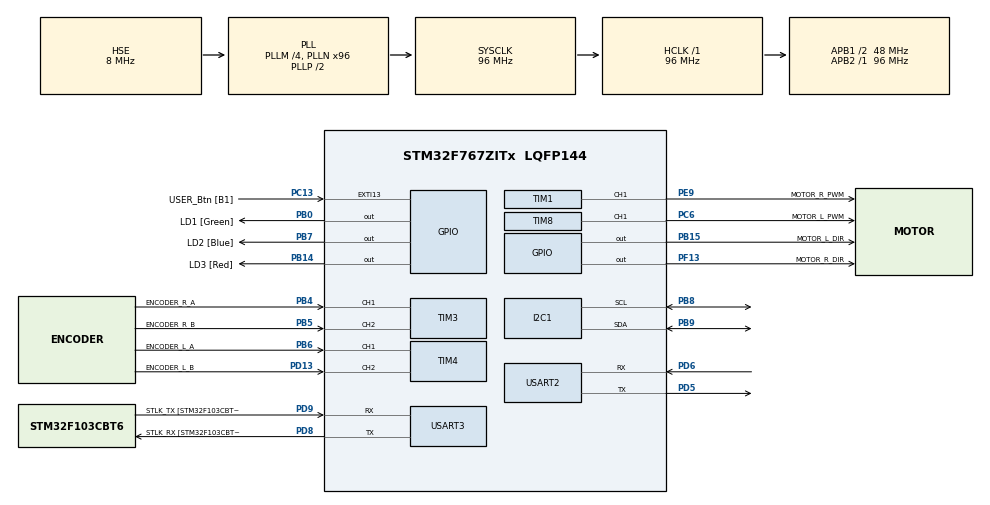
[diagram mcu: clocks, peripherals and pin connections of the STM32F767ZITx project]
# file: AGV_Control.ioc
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CORTEX_M7.default_mode_Activation=1
Dma.Request0=USART2_RX
Dma.USART2_RX.0.Direction=DMA_PERIPH_TO_MEMORY
Dma.USART2_RX.0.FIFOMode=DMA_FIFOMODE_DISABLE
Dma.USART2_RX.0.Instance=DMA1_Stream5
Dma.USART2_RX.0.MemDataAlignment=DMA_MDATAALIGN_BYTE
Dma.USART2_RX.0.MemInc=DMA_MINC_ENABLE
Dma.USART2_RX.0.Mode=DMA_CIRCULAR
Dma.USART2_RX.0.PeriphDataAlignment=DMA_PDATAALIGN_BYTE
Dma.USART2_RX.0.PeriphInc=DMA_PINC_DISABLE
Dma.USART2_RX.0.Priority=DMA_PRIORITY_LOW
I2C1.Timing=0x20303E5D
Mcu.Family=STM32F7
Mcu.Name=STM32F767ZITx
Mcu.Package=LQFP144
NVIC.DMA1_Stream5_IRQn=true\:0\:0\:false\:false\:true\:false\:true\:true
NVIC.PriorityGroup=NVIC_PRIORITYGROUP_4
NVIC.TIM6_DAC_IRQn=true\:0\:0\:false\:false\:true\:true\:true\:true
NVIC.USART2_IRQn=true\:0\:0\:false\:false\:true\:true\:true\:true
NVIC.USART3_IRQn=true\:0\:0\:false\:false\:true\:true\:true\:true
PA13.GPIO_Label=TMS
PA13.Mode=Serial_Wire
PA13.Signal=SYS_JTMS-SWDIO
PA14.GPIO_Label=TCK
PA14.Mode=Serial_Wire
PA14.Signal=SYS_JTCK-SWCLK
PB0.GPIO_Label=LD1 [Green]
PB0.Signal=GPIO_Output
PB14.GPIO_Label=LD3 [Red]
PB14.Signal=GPIO_Output
PB15.GPIO_Label=MOTOR_L_DIR
PB15.Signal=GPIO_Output
PB4.GPIO_Label=ENCODER_R_A
PB4.Signal=S_TIM3_CH1
PB5.GPIO_Label=ENCODER_R_B
PB5.Signal=S_TIM3_CH2
PB6.GPIO_Label=ENCODER_L_A
PB6.Signal=S_TIM4_CH1
PB7.GPIO_Label=LD2 [Blue]
PB7.Signal=GPIO_Output
PB8.Mode=I2C
PB8.Signal=I2C1_SCL
PB9.Mode=I2C
PB9.Signal=I2C1_SDA
PC13.GPIO_Label=USER_Btn [B1]
PC13.Signal=GPXTI13
PC14/OSC32_IN.Mode=LSE-External-Oscillator
PC14/OSC32_IN.Signal=RCC_OSC32_IN
PC15/OSC32_OUT.Mode=LSE-External-Oscillator
PC15/OSC32_OUT.Signal=RCC_OSC32_OUT
PC6.GPIO_Label=MOTOR_L_PWM
PC6.Signal=S_TIM8_CH1
PD13.GPIO_Label=ENCODER_L_B
PD13.Signal=S_TIM4_CH2
PD5.Mode=Asynchronous
PD5.Signal=USART2_TX
PD6.Mode=Asynchronous
PD6.Signal=USART2_RX
PD8.GPIO_Label=STLK_RX [STM32F103CBT6_PA3]
PD8.Mode=Asynchronous
PD8.Signal=USART3_TX
PD9.GPIO_Label=STLK_TX [STM32F103CBT6_PA2]
PD9.Mode=Asynchronous
PD9.Signal=USART3_RX
PE9.GPIO_Label=MOTOR_R_PWM
PE9.Signal=S_TIM1_CH1
PF13.GPIO_Label=MOTOR_R_DIR
PF13.Signal=GPIO_Output
PH0/OSC_IN.GPIO_Label=MCO [STM32F103CBT6_PA8]
PH0/OSC_IN.Mode=HSE-External-Clock-Source
PH0/OSC_IN.Signal=RCC_OSC_IN
PH1/OSC_OUT.Mode=HSE-External-Clock-Source
PH1/OSC_OUT.Signal=RCC_OSC_OUT
ProjectManager.HeapSize=0x200
ProjectManager.StackSize=0x400
ProjectManager.TargetToolchain=STM32CubeIDE
RCC.48MHZClocksFreq_Value=24000000
RCC.AHBFreq_Value=96000000
RCC.APB1CLKDivider=RCC_HCLK_DIV2
RCC.APB1Freq_Value=48000000
RCC.APB1TimFreq_Value=96000000
RCC.APB2Freq_Value=96000000
RCC.APB2TimFreq_Value=96000000
RCC.CortexFreq_Value=96000000
RCC.HCLKFreq_Value=96000000
RCC.HSE_VALUE=8000000
RCC.HSI_VALUE=16000000
RCC.PLLM=4
RCC.PLLMUL=RCC_PLL_MUL9
RCC.PLLN=96
RCC.PLLQ=4
RCC.PLLSourceVirtual=RCC_PLLSOURCE_HSE
RCC.PRESCALERUSB=RCC_USBCLKSOURCE_PLL_DIV1_5
RCC.SYSCLKFreq_VALUE=96000000
RCC.SYSCLKSource=RCC_SYSCLKSOURCE_PLLCLK
RCC.SYSCLKSourceVirtual=RCC_SYSCLKSOURCE_PLLCLK
RCC.USBFreq_Value=48000000
RCC.VCOOutputFreq_Value=192000000
SH.S_TIM1_CH1.0=TIM1_CH1,PWM Generation1 CH1
SH.S_TIM3_CH1.0=TIM3_CH1,Encoder_Interface
SH.S_TIM3_CH2.0=TIM3_CH2,Encoder_Interface
SH.S_TIM4_CH1.0=TIM4_CH1,Encoder_Interface
SH.S_TIM4_CH2.0=TIM4_CH2,Encoder_Interface
SH.S_TIM8_CH1.0=TIM8_CH1,PWM Generation1 CH1
TIM1.AutoReloadPreload=TIM_AUTORELOAD_PRELOAD_ENABLE
TIM1.Channel-PWM\ Generation1\ CH1=TIM_CHANNEL_1
TIM1.Period=4800-1
TIM1.Prescaler=1-1
TIM3.EncoderMode=TIM_ENCODERMODE_TI12
TIM3.IC1Filter=15
TIM3.IC2Filter=15
TIM4.EncoderMode=TIM_ENCODERMODE_TI12
TIM4.IC1Filter=15
TIM4.IC2Filter=15
TIM6.Period=100-1
TIM6.Prescaler=9600-1
TIM8.AutoReloadPreload=TIM_AUTORELOAD_PRELOAD_ENABLE
TIM8.Channel-PWM\ Generation1\ CH1=TIM_CHANNEL_1
TIM8.Period=4800-1
TIM8.Prescaler=1-1
USART2.VirtualMode-Asynchronous=VM_ASYNC
USART3.VirtualMode-Asynchronous=VM_ASYNC
VP_TIM6_VS_ClockSourceINT.Mode=Enable_Timer
board=NUCLEO-F767ZI

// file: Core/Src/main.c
/* USER CODE BEGIN Header */
/**
  ******************************************************************************
  * @file           : main.c
  * @brief          : Main program body
  ******************************************************************************
  * @attention
  *
  * Copyright (c) 2026 STMicroelectronics.
  * All rights reserved.
  *
  * This software is licensed under terms that can be found in the LICENSE file
  * in the root directory of this software component.
  * If no LICENSE file comes with this software, it is provided AS-IS.
  *
  ******************************************************************************
  */
/* USER CODE END Header */
#include "main.h"

/* USER CODE BEGIN Includes */
#include <stdio.h>
#include <string.h>
#include <math.h>
#include "pid.h"
#include "BNO055_STM32.h"
/* USER CODE END Includes */

/* USER CODE BEGIN PD */
#define CMD_FORWARD       0x01
#define CMD_STOP          0x02
#define CMD_LIFT_UP       0x03
#define CMD_LIFT_DOWN     0x04
#define CMD_ROTATE_LEFT   0x05
#define CMD_ROTATE_RIGHT  0x06
#define CMD_ROTATE_180    0x07
#define CMD_CORRECTION	  0x08
#define ABS(x) (((x) > 0) ? (x) : (-x))

// 캘리브레이션 값이 저장되어있는 플래시 메모리 주소 (Sector11)
#define CALIB_ADDR  ((uint32_t)0x081C0000)

#define MOTOR_CPR			64.0f
#define GEAR_RATIO			70.0f
#define ENCODER_CPR			(MOTOR_CPR * GEAR_RATIO)
#define WHEEL_DIAMETER_MM	66.0f
#define WHEEL_CIRCUMFERENCE	(M_PI * WHEEL_DIAMETER_MM)
#define TARGET_DISTANCE		500.0f

#define ArUcoMarker_RxBuf_SIZE		19
/* USER CODE END PD */

I2C_HandleTypeDef hi2c1;

TIM_HandleTypeDef htim1;
TIM_HandleTypeDef htim3;
TIM_HandleTypeDef htim4;
TIM_HandleTypeDef htim6;
TIM_HandleTypeDef htim8;

UART_HandleTypeDef huart2;
UART_HandleTypeDef huart3;
DMA_HandleTypeDef hdma_usart2_rx;

/* USER CODE BEGIN PV */
volatile uint8_t control_flag = 0, print_flag = 0, usart2_flag = 0;
uint8_t command = 0x00;
int16_t MotorL_Speed = 0, MotorR_Speed = 0;
float Target_Yaw = 0.0f;

// 속도, 거리 pid 제어용 변수들
uint16_t EncoderL_PrevCount, EncoderR_PrevCount;
uint16_t EncoderL_CurrCount, EncoderR_CurrCount;
int16_t EncoderL_DeltaCount, EncoderR_DeltaCount;

uint32_t EncoderL_TotalCount, EncoderR_TotalCount;
uint32_t Encoder_TotalCount;
float Total_Distance;

PID_t MOTOR_L, MOTOR_R;
PID_t DISTANCE;

// imu yaw 제어용 변수들
BNO055_Init_t bno055_init = {
		UNIT_ACC_MS2 | UNIT_GYRO_DPS | UNIT_EUL_DEG | UNIT_TEMP_CELCIUS,
		DEFAULT_AXIS_REMAP,
		DEFAULT_AXIS_SIGN,
		BNO055_NORMAL_MODE,
		NDOF,
		CLOCK_EXTERNAL,
		Range_2G
};

float BNO055_Yaw;
float Delta_Yaw;
float Yaw_Offset;
PID_t FORWARD_YAW, ROTATE_YAW;

// ArUco Marker 인식 및 보정용 변수들
uint8_t ArUcoMarker_RxBuf[ArUcoMarker_RxBuf_SIZE];
int marker_x, marker_y, marker_yaw;
/* USER CODE END PV */

void SystemClock_Config(void);
static void MPU_Config(void);
static void MX_GPIO_Init(void);
static void MX_DMA_Init(void);
static void MX_TIM1_Init(void);
static void MX_TIM3_Init(void);
static void MX_TIM4_Init(void);
static void MX_TIM6_Init(void);
static void MX_TIM8_Init(void);
static void MX_USART3_UART_Init(void);
static void MX_I2C1_Init(void);
static void MX_USART2_UART_Init(void);

/* USER CODE BEGIN 0 */
int _write(int file, char *ptr, int len)
{
    HAL_UART_Transmit(&huart3, (uint8_t*) ptr, len, HAL_MAX_DELAY);
    return len;
}

void Calib_Load(uint8_t *offset)
{
    for (int i = 0; i < 22; i++) {
        // 메모리 주소를 포인터로 변환하여 직접 값을 읽어옵니다.
        offset[i] = *(uint8_t *)(CALIB_ADDR + i);
    }
}

void Set_Zero_Yaw(void)
{
	BNO055_Sensors_t bno055_sensor_data;

	ReadData(&bno055_sensor_data, SENSOR_EULER);

	Yaw_Offset = bno055_sensor_data.Euler.X;
}

void AGV_START(void)
{
	uint8_t offset[22];

	printf("--- AGV Main Program Start ---\r\n");

	HAL_TIM_PWM_Start(&htim1, TIM_CHANNEL_1);			// MOTOR_R_PWM
	HAL_TIM_PWM_Start(&htim8, TIM_CHANNEL_1);			// MOTOR_L_PWM

	HAL_TIM_Encoder_Start(&htim3, TIM_CHANNEL_ALL);  	// MOTOR_R_ENCODER
	HAL_TIM_Encoder_Start(&htim4, TIM_CHANNEL_ALL);  	// MOTOR_L_ENCODER

	BNO055_Init(bno055_init);

	Calib_Load(offset);

	if (offset[0] != 0xFF)
	{
	    printf("Saved Calibration Data found! Applying to BNO055...\r\n");

	    setSensorOffsets(offset);

	    printf("Calibration Applied successfully.\r\n");
	}
	else
	{
	    printf("WARNING: No Calibration Data! Sensor may drift.\r\n");
	    printf("Please run the Calibration Tool firmware first.\r\n");
	}

	HAL_Delay(500);

	Set_Zero_Yaw();
}

void ENCODER_COUNT_UPDATE(void)
{
	EncoderL_CurrCount = __HAL_TIM_GET_COUNTER(&htim4);
	EncoderR_CurrCount = __HAL_TIM_GET_COUNTER(&htim3);

	EncoderL_DeltaCount = ABS((int16_t)(EncoderL_CurrCount - EncoderL_PrevCount));
	EncoderR_DeltaCount = ABS((int16_t)(EncoderR_CurrCount - EncoderR_PrevCount));

	EncoderL_PrevCount = EncoderL_CurrCount;
	EncoderR_PrevCount = EncoderR_CurrCount;
}

void SPEED_PID_Control(float target)
{
	PID_SetTarget(&MOTOR_L, target);
	PID_SetTarget(&MOTOR_R, target);

	PID_Compute(&MOTOR_L, EncoderL_DeltaCount);
	PID_Compute(&MOTOR_R, EncoderR_DeltaCount);
}

void DISTANCE_PID_Control(float target)
{
	EncoderL_TotalCount += EncoderL_DeltaCount;
	EncoderR_TotalCount += EncoderR_DeltaCount;

	Encoder_TotalCount = (EncoderL_TotalCount + EncoderR_TotalCount) / 2;

	Total_Distance = ((float)Encoder_TotalCount / ENCODER_CPR) * WHEEL_CIRCUMFERENCE;

	PID_SetTarget(&DISTANCE, target);

	PID_Compute(&DISTANCE, Total_Distance);
}

float ReadYawData(void)
{
	BNO055_Sensors_t bno055_sensor_data;
	float yaw;

	ReadData(&bno055_sensor_data, SENSOR_EULER);
	yaw = bno055_sensor_data.Euler.X - Yaw_Offset;

	if (yaw < 0.0f)
		yaw += 360.0f;
	else if (yaw >= 360.0f)
		yaw -= 360.0f;

	return yaw;
}

void FORWARD_YAW_PID_Control(void)
{
	BNO055_Yaw = ReadYawData();
	Delta_Yaw = Target_Yaw - BNO055_Yaw;

	// error wrap
	if (Delta_Yaw > 180.0f) Delta_Yaw -= 360.0f;
	if (Delta_Yaw < -180.0f) Delta_Yaw += 360.0f;

	PID_SetTarget(&FORWARD_YAW, 0.0f);

	PID_Compute(&FORWARD_YAW, Delta_Yaw);
}

void ROTATE_YAW_PID_Control(void)
{
	BNO055_Yaw = ReadYawData();
	Delta_Yaw = Target_Yaw - BNO055_Yaw;

	// error wrap
	if (Delta_Yaw > 180.0f) Delta_Yaw -= 360.0f;
	if (Delta_Yaw < -180.0f) Delta_Yaw += 360.0f;

	if (Delta_Yaw >= 0.0f)
	{
		HAL_GPIO_WritePin(MOTOR_L_DIR_GPIO_Port, MOTOR_L_DIR_Pin, GPIO_PIN_RESET);
		HAL_GPIO_WritePin(MOTOR_R_DIR_GPIO_Port, MOTOR_R_DIR_Pin, GPIO_PIN_SET);
	}
	else
	{
		HAL_GPIO_WritePin(MOTOR_L_DIR_GPIO_Port, MOTOR_L_DIR_Pin, GPIO_PIN_SET);
		HAL_GPIO_WritePin(MOTOR_R_DIR_GPIO_Port, MOTOR_R_DIR_Pin, GPIO_PIN_RESET);
	}

	PID_SetTarget(&ROTATE_YAW, 0.0f);

	PID_Compute(&ROTATE_YAW, ABS(Delta_Yaw));
}

int ArUcoMarker_Data_Parsing(const uint8_t* buf)
{
	int data = 0;

	if (buf[0] == '+' || buf[0] == '-')
	{
		data = (buf[1] - '0') * 1000 + (buf[2] - '0') * 100
				+ (buf[3] - '0') * 10 + (buf[4] - '0');

		if (buf[0] == '-') data *= -1;
	}

	return data;
}

void ReadArUcoMarkerData(void)
{
	if (usart2_flag)
	{
		usart2_flag = 0;

		marker_x = ArUcoMarker_Data_Parsing(&ArUcoMarker_RxBuf[1]);
		marker_y = ArUcoMarker_Data_Parsing(&ArUcoMarker_RxBuf[7]);
		marker_yaw = ArUcoMarker_Data_Parsing(&ArUcoMarker_RxBuf[13]);

		printf("x: %d, y: %d, yaw: %d\r\n", marker_x, marker_y, marker_yaw);
	}
}

void AGV_FORWARD(uint16_t basePwm, float target)
{
	float pwm, count;

	HAL_GPIO_WritePin(MOTOR_L_DIR_GPIO_Port, MOTOR_L_DIR_Pin, GPIO_PIN_RESET);
	HAL_GPIO_WritePin(MOTOR_R_DIR_GPIO_Port, MOTOR_R_DIR_Pin, GPIO_PIN_RESET);

	if (control_flag)
	{
		control_flag = 0;
		print_flag++;

		ENCODER_COUNT_UPDATE();

		//DISTANCE_PID_CONTROL
		DISTANCE_PID_Control(TARGET_DISTANCE);

		if (Total_Distance >= 0 && Total_Distance <= 150.0f)
		{
			pwm = basePwm + ((TARGET_DISTANCE - ABS(DISTANCE.pidOutput)) * 10.0f);
			count = pwm / 20.0f;
		}
		else if (Total_Distance >= 350.0f && Total_Distance <= 500.0f)
		{
			pwm = basePwm + (ABS(DISTANCE.pidOutput) * 10.0f);
			count = pwm / 20.0f;
		}
		else if (Total_Distance >= 500.0f)
		{
			printf("Distance: %4.1f\r\n", Total_Distance);
			Total_Distance = 0.0f;
			EncoderL_TotalCount = 0;
			EncoderR_TotalCount = 0;
			Encoder_TotalCount = 0;

			__HAL_TIM_SET_COMPARE(&htim8, TIM_CHANNEL_1, 0);
			__HAL_TIM_SET_COMPARE(&htim1, TIM_CHANNEL_1, 0);

			command = CMD_CORRECTION;

			return;
		}

		// SPEED PID CONTROL
		SPEED_PID_Control(count);

		// HEADING PID CONTROL
		FORWARD_YAW_PID_Control();

		MotorL_Speed = pwm + MOTOR_L.pidOutput + FORWARD_YAW.pidOutput;
		MotorR_Speed = pwm + MOTOR_R.pidOutput - FORWARD_YAW.pidOutput;

		if (MotorL_Speed > 4320) MotorL_Speed = 4320;
		if (MotorL_Speed < 0) MotorL_Speed = 0;
		if (MotorR_Speed > 4320) MotorR_Speed = 4320;
		if (MotorR_Speed < 0) MotorR_Speed = 0;

		__HAL_TIM_SET_COMPARE(&htim8, TIM_CHANNEL_1, MotorL_Speed);
		__HAL_TIM_SET_COMPARE(&htim1, TIM_CHANNEL_1, MotorR_Speed);

		if (print_flag >= 10)
		{
			print_flag = 0;
			printf("target: %4.1f, yaw: %4.1f, MotorL_Speed: %d, MotorR_Speed: %d\r\n", Target_Yaw, BNO055_Yaw, MotorL_Speed, MotorR_Speed);
			printf("Distance: %4.1f\r\n", Total_Distance);
		}
	}
}

void AGV_STOP(void)
{
	__HAL_TIM_SET_COMPARE(&htim8, TIM_CHANNEL_1, 0);
	__HAL_TIM_SET_COMPARE(&htim1, TIM_CHANNEL_1, 0);
}

void AGV_ROTATE(uint16_t basePwm, float target)
{
	float pwm, count;

	if (control_flag)
	{
		control_flag = 0;
		print_flag++;

		ENCODER_COUNT_UPDATE();

		// ROTATE PID CONTROL
		ROTATE_YAW_PID_Control();

		pwm = basePwm + (ABS(ROTATE_YAW.pidOutput) * 10);
		count = target + ((ABS(ROTATE_YAW.pidOutput) * 10) / 20.0f);

		// SPEED PID CONTROL
		SPEED_PID_Control(count);

		MotorL_Speed = pwm + MOTOR_L.pidOutput;
		MotorR_Speed = pwm + MOTOR_R.pidOutput;

		if (MotorL_Speed > 4320) MotorL_Speed = 4320;
		if (MotorL_Speed < 0) MotorL_Speed = 0;
		if (MotorR_Speed > 4320) MotorR_Speed = 4320;
		if (MotorR_Speed < 0) MotorR_Speed = 0;

		if (ABS(Delta_Yaw) < 1.0f)
		{
			MotorL_Speed = 0;
			MotorR_Speed = 0;

			//command = CMD_STOP;
		}

		__HAL_TIM_SET_COMPARE(&htim8, TIM_CHANNEL_1, MotorL_Speed);
		__HAL_TIM_SET_COMPARE(&htim1, TIM_CHANNEL_1, MotorR_Speed);

		if (print_flag >= 10)
		{
			print_flag = 0;
			printf("pidOutput: %4.1f, target: %4.1f\r\n", ROTATE_YAW.pidOutput, count);
			printf("target: %4.1f, yaw: %4.1f, MotorL_Speed: %d, MotorR_Speed: %d\r\n", Target_Yaw, BNO055_Yaw, MotorL_Speed, MotorR_Speed);
		}
	}
}

void AGV_CORRECTION(uint16_t basePwm, float target)
{
	ReadArUcoMarkerData();

	//HAL_Delay(1000-1);
}
/* USER CODE END 0 */

int main(void)
{

  /* MPU Configuration--------------------------------------------------------*/
  MPU_Config();

  /* MCU Configuration--------------------------------------------------------*/

  /* Reset of all peripherals, Initializes the Flash interface and the Systick. */
  HAL_Init();

  /* Configure the system clock */
  SystemClock_Config();

  /* Initialize all configured peripherals */
  MX_GPIO_Init();
  MX_DMA_Init();
  MX_TIM1_Init();
  MX_TIM3_Init();
  MX_TIM4_Init();
  MX_TIM6_Init();
  MX_TIM8_Init();
  MX_USART3_UART_Init();
  MX_I2C1_Init();
  MX_USART2_UART_Init();
  /* USER CODE BEGIN 2 */
  AGV_START();

  PID_Init(&MOTOR_L, 1.0, 0, 0.01, 0.01, 0, 4320, -4320);
  PID_Init(&MOTOR_R, 1.0, 0, 0.01, 0.01, 0, 4320, -4320);
  PID_Init(&FORWARD_YAW, 2.0, 0.0, 0.0, 0.01, 0, 4320, -4320);
  PID_Init(&ROTATE_YAW, 2.0, 0.0025, 0.25, 0.01, 0, 4320, -4320);
  PID_Init(&DISTANCE, 1.0, 0.0, 0.0, 0.01, 0, 4320, -4320);

  HAL_TIM_Base_Start_IT(&htim6);
  HAL_UART_Receive_IT(&huart3, &command, 1);
  HAL_UARTEx_ReceiveToIdle_DMA(&huart2, ArUcoMarker_RxBuf, ArUcoMarker_RxBuf_SIZE);
  __HAL_DMA_DISABLE_IT(&hdma_usart2_rx, DMA_IT_HT);
  /* USER CODE END 2 */

  /* Infinite loop */
  /* USER CODE BEGIN WHILE */
  while (1)
  {
	  switch(command)
	  {
	  case CMD_FORWARD:
		  AGV_FORWARD(400, 20.0f);
		  break;
	  case CMD_STOP:
		  AGV_STOP();
		  break;
	  case CMD_ROTATE_LEFT:
		  AGV_ROTATE(300, 15.0f);
		  break;
	  case CMD_ROTATE_RIGHT:
		  AGV_ROTATE(300, 15.0f);
		  break;
	  case CMD_ROTATE_180:
		  AGV_ROTATE(300, 15.0f);
		  break;
	  case CMD_CORRECTION:
		  AGV_CORRECTION(400, 20.0f);
	  }
    /* USER CODE END WHILE */

  }
}

void SystemClock_Config(void)
{
  RCC_OscInitTypeDef RCC_OscInitStruct = {0};
  RCC_ClkInitTypeDef RCC_ClkInitStruct = {0};

  /** Configure LSE Drive Capability
  */
  HAL_PWR_EnableBkUpAccess();

  /** Configure the main internal regulator output voltage
  */
  __HAL_RCC_PWR_CLK_ENABLE();
  __HAL_PWR_VOLTAGESCALING_CONFIG(PWR_REGULATOR_VOLTAGE_SCALE3);

  /** Initializes the RCC Oscillators according to the specified parameters
  * in the RCC_OscInitTypeDef structure.
  */
  RCC_OscInitStruct.OscillatorType = RCC_OSCILLATORTYPE_HSE;
  RCC_OscInitStruct.HSEState = RCC_HSE_BYPASS;
  RCC_OscInitStruct.PLL.PLLState = RCC_PLL_ON;
  RCC_OscInitStruct.PLL.PLLSource = RCC_PLLSOURCE_HSE;
  RCC_OscInitStruct.PLL.PLLM = 4;
  RCC_OscInitStruct.PLL.PLLN = 96;
  RCC_OscInitStruct.PLL.PLLP = RCC_PLLP_DIV2;
  RCC_OscInitStruct.PLL.PLLQ = 4;
  RCC_OscInitStruct.PLL.PLLR = 2;
  if (HAL_RCC_OscConfig(&RCC_OscInitStruct) != HAL_OK)
  {
    Error_Handler();
  }

  /** Activate the Over-Drive mode
  */
  if (HAL_PWREx_EnableOverDrive() != HAL_OK)
  {
    Error_Handler();
  }

  /** Initializes the CPU, AHB and APB buses clocks
  */
  RCC_ClkInitStruct.ClockType = RCC_CLOCKTYPE_HCLK|RCC_CLOCKTYPE_SYSCLK
                              |RCC_CLOCKTYPE_PCLK1|RCC_CLOCKTYPE_PCLK2;
  RCC_ClkInitStruct.SYSCLKSource = RCC_SYSCLKSOURCE_PLLCLK;
  RCC_ClkInitStruct.AHBCLKDivider = RCC_SYSCLK_DIV1;
  RCC_ClkInitStruct.APB1CLKDivider = RCC_HCLK_DIV2;
  RCC_ClkInitStruct.APB2CLKDivider = RCC_HCLK_DIV1;

  if (HAL_RCC_ClockConfig(&RCC_ClkInitStruct, FLASH_LATENCY_3) != HAL_OK)
  {
    Error_Handler();
  }
}

static void MX_I2C1_Init(void)
{

  hi2c1.Instance = I2C1;
  hi2c1.Init.Timing = 0x20303E5D;
  hi2c1.Init.OwnAddress1 = 0;
  hi2c1.Init.AddressingMode = I2C_ADDRESSINGMODE_7BIT;
  hi2c1.Init.DualAddressMode = I2C_DUALADDRESS_DISABLE;
  hi2c1.Init.OwnAddress2 = 0;
  hi2c1.Init.OwnAddress2Masks = I2C_OA2_NOMASK;
  hi2c1.Init.GeneralCallMode = I2C_GENERALCALL_DISABLE;
  hi2c1.Init.NoStretchMode = I2C_NOSTRETCH_DISABLE;
  if (HAL_I2C_Init(&hi2c1) != HAL_OK)
  {
    Error_Handler();
  }

  /** Configure Analogue filter
  */
  if (HAL_I2CEx_ConfigAnalogFilter(&hi2c1, I2C_ANALOGFILTER_ENABLE) != HAL_OK)
  {
    Error_Handler();
  }

  /** Configure Digital filter
  */
  if (HAL_I2CEx_ConfigDigitalFilter(&hi2c1, 0) != HAL_OK)
  {
    Error_Handler();
  }

}

static void MX_TIM1_Init(void)
{

  TIM_MasterConfigTypeDef sMasterConfig = {0};
  TIM_OC_InitTypeDef sConfigOC = {0};
  TIM_BreakDeadTimeConfigTypeDef sBreakDeadTimeConfig = {0};

  htim1.Instance = TIM1;
  htim1.Init.Prescaler = 1-1;
  htim1.Init.CounterMode = TIM_COUNTERMODE_UP;
  htim1.Init.Period = 4800-1;
  htim1.Init.ClockDivision = TIM_CLOCKDIVISION_DIV1;
  htim1.Init.RepetitionCounter = 0;
  htim1.Init.AutoReloadPreload = TIM_AUTORELOAD_PRELOAD_ENABLE;
  if (HAL_TIM_PWM_Init(&htim1) != HAL_OK)
  {
    Error_Handler();
  }
  sMasterConfig.MasterOutputTrigger = TIM_TRGO_RESET;
  sMasterConfig.MasterOutputTrigger2 = TIM_TRGO2_RESET;
  sMasterConfig.MasterSlaveMode = TIM_MASTERSLAVEMODE_DISABLE;
  if (HAL_TIMEx_MasterConfigSynchronization(&htim1, &sMasterConfig) != HAL_OK)
  {
    Error_Handler();
  }
  sConfigOC.OCMode = TIM_OCMODE_PWM1;
  sConfigOC.Pulse = 0;
  sConfigOC.OCPolarity = TIM_OCPOLARITY_HIGH;
  sConfigOC.OCNPolarity = TIM_OCNPOLARITY_HIGH;
  sConfigOC.OCFastMode = TIM_OCFAST_DISABLE;
  sConfigOC.OCIdleState = TIM_OCIDLESTATE_RESET;
  sConfigOC.OCNIdleState = TIM_OCNIDLESTATE_RESET;
  if (HAL_TIM_PWM_ConfigChannel(&htim1, &sConfigOC, TIM_CHANNEL_1) != HAL_OK)
  {
    Error_Handler();
  }
  sBreakDeadTimeConfig.OffStateRunMode = TIM_OSSR_DISABLE;
  sBreakDeadTimeConfig.OffStateIDLEMode = TIM_OSSI_DISABLE;
  sBreakDeadTimeConfig.LockLevel = TIM_LOCKLEVEL_OFF;
  sBreakDeadTimeConfig.DeadTime = 0;
  sBreakDeadTimeConfig.BreakState = TIM_BREAK_DISABLE;
  sBreakDeadTimeConfig.BreakPolarity = TIM_BREAKPOLARITY_HIGH;
  sBreakDeadTimeConfig.BreakFilter = 0;
  sBreakDeadTimeConfig.Break2State = TIM_BREAK2_DISABLE;
  sBreakDeadTimeConfig.Break2Polarity = TIM_BREAK2POLARITY_HIGH;
  sBreakDeadTimeConfig.Break2Filter = 0;
  sBreakDeadTimeConfig.AutomaticOutput = TIM_AUTOMATICOUTPUT_DISABLE;
  if (HAL_TIMEx_ConfigBreakDeadTime(&htim1, &sBreakDeadTimeConfig) != HAL_OK)
  {
    Error_Handler();
  }
  HAL_TIM_MspPostInit(&htim1);

}

static void MX_TIM3_Init(void)
{

  TIM_Encoder_InitTypeDef sConfig = {0};
  TIM_MasterConfigTypeDef sMasterConfig = {0};

  htim3.Instance = TIM3;
  htim3.Init.Prescaler = 0;
  htim3.Init.CounterMode = TIM_COUNTERMODE_UP;
  htim3.Init.Period = 65535;
  htim3.Init.ClockDivision = TIM_CLOCKDIVISION_DIV1;
  htim3.Init.AutoReloadPreload = TIM_AUTORELOAD_PRELOAD_DISABLE;
  sConfig.EncoderMode = TIM_ENCODERMODE_TI12;
  sConfig.IC1Polarity = TIM_ICPOLARITY_RISING;
  sConfig.IC1Selection = TIM_ICSELECTION_DIRECTTI;
  sConfig.IC1Prescaler = TIM_ICPSC_DIV1;
  sConfig.IC1Filter = 15;
  sConfig.IC2Polarity = TIM_ICPOLARITY_RISING;
  sConfig.IC2Selection = TIM_ICSELECTION_DIRECTTI;
  sConfig.IC2Prescaler = TIM_ICPSC_DIV1;
  sConfig.IC2Filter = 15;
  if (HAL_TIM_Encoder_Init(&htim3, &sConfig) != HAL_OK)
  {
    Error_Handler();
  }
  sMasterConfig.MasterOutputTrigger = TIM_TRGO_RESET;
  sMasterConfig.MasterSlaveMode = TIM_MASTERSLAVEMODE_DISABLE;
  if (HAL_TIMEx_MasterConfigSynchronization(&htim3, &sMasterConfig) != HAL_OK)
  {
    Error_Handler();
  }

}

static void MX_TIM4_Init(void)
{

  TIM_Encoder_InitTypeDef sConfig = {0};
  TIM_MasterConfigTypeDef sMasterConfig = {0};

  htim4.Instance = TIM4;
  htim4.Init.Prescaler = 0;
  htim4.Init.CounterMode = TIM_COUNTERMODE_UP;
  htim4.Init.Period = 65535;
  htim4.Init.ClockDivision = TIM_CLOCKDIVISION_DIV1;
  htim4.Init.AutoReloadPreload = TIM_AUTORELOAD_PRELOAD_DISABLE;
  sConfig.EncoderMode = TIM_ENCODERMODE_TI12;
  sConfig.IC1Polarity = TIM_ICPOLARITY_RISING;
  sConfig.IC1Selection = TIM_ICSELECTION_DIRECTTI;
  sConfig.IC1Prescaler = TIM_ICPSC_DIV1;
  sConfig.IC1Filter = 15;
  sConfig.IC2Polarity = TIM_ICPOLARITY_RISING;
  sConfig.IC2Selection = TIM_ICSELECTION_DIRECTTI;
  sConfig.IC2Prescaler = TIM_ICPSC_DIV1;
  sConfig.IC2Filter = 15;
  if (HAL_TIM_Encoder_Init(&htim4, &sConfig) != HAL_OK)
  {
    Error_Handler();
  }
  sMasterConfig.MasterOutputTrigger = TIM_TRGO_RESET;
  sMasterConfig.MasterSlaveMode = TIM_MASTERSLAVEMODE_DISABLE;
  if (HAL_TIMEx_MasterConfigSynchronization(&htim4, &sMasterConfig) != HAL_OK)
  {
    Error_Handler();
  }

}

static void MX_TIM6_Init(void)
{

  TIM_MasterConfigTypeDef sMasterConfig = {0};

  htim6.Instance = TIM6;
  htim6.Init.Prescaler = 9600-1;
  htim6.Init.CounterMode = TIM_COUNTERMODE_UP;
  htim6.Init.Period = 100-1;
  htim6.Init.AutoReloadPreload = TIM_AUTORELOAD_PRELOAD_DISABLE;
  if (HAL_TIM_Base_Init(&htim6) != HAL_OK)
  {
    Error_Handler();
  }
  sMasterConfig.MasterOutputTrigger = TIM_TRGO_RESET;
  sMasterConfig.MasterSlaveMode = TIM_MASTERSLAVEMODE_DISABLE;
  if (HAL_TIMEx_MasterConfigSynchronization(&htim6, &sMasterConfig) != HAL_OK)
  {
    Error_Handler();
  }

}

static void MX_TIM8_Init(void)
{

  TIM_MasterConfigTypeDef sMasterConfig = {0};
  TIM_OC_InitTypeDef sConfigOC = {0};
  TIM_BreakDeadTimeConfigTypeDef sBreakDeadTimeConfig = {0};

  htim8.Instance = TIM8;
  htim8.Init.Prescaler = 1-1;
  htim8.Init.CounterMode = TIM_COUNTERMODE_UP;
  htim8.Init.Period = 4800-1;
  htim8.Init.ClockDivision = TIM_CLOCKDIVISION_DIV1;
  htim8.Init.RepetitionCounter = 0;
  htim8.Init.AutoReloadPreload = TIM_AUTORELOAD_PRELOAD_ENABLE;
  if (HAL_TIM_PWM_Init(&htim8) != HAL_OK)
  {
    Error_Handler();
  }
  sMasterConfig.MasterOutputTrigger = TIM_TRGO_RESET;
  sMasterConfig.MasterOutputTrigger2 = TIM_TRGO2_RESET;
  sMasterConfig.MasterSlaveMode = TIM_MASTERSLAVEMODE_DISABLE;
  if (HAL_TIMEx_MasterConfigSynchronization(&htim8, &sMasterConfig) != HAL_OK)
  {
    Error_Handler();
  }
  sConfigOC.OCMode = TIM_OCMODE_PWM1;
  sConfigOC.Pulse = 0;
  sConfigOC.OCPolarity = TIM_OCPOLARITY_HIGH;
  sConfigOC.OCNPolarity = TIM_OCNPOLARITY_HIGH;
  sConfigOC.OCFastMode = TIM_OCFAST_DISABLE;
  sConfigOC.OCIdleState = TIM_OCIDLESTATE_RESET;
  sConfigOC.OCNIdleState = TIM_OCNIDLESTATE_RESET;
  if (HAL_TIM_PWM_ConfigChannel(&htim8, &sConfigOC, TIM_CHANNEL_1) != HAL_OK)
  {
    Error_Handler();
  }
  sBreakDeadTimeConfig.OffStateRunMode = TIM_OSSR_DISABLE;
  sBreakDeadTimeConfig.OffStateIDLEMode = TIM_OSSI_DISABLE;
  sBreakDeadTimeConfig.LockLevel = TIM_LOCKLEVEL_OFF;
  sBreakDeadTimeConfig.DeadTime = 0;
  sBreakDeadTimeConfig.BreakState = TIM_BREAK_DISABLE;
  sBreakDeadTimeConfig.BreakPolarity = TIM_BREAKPOLARITY_HIGH;
  sBreakDeadTimeConfig.BreakFilter = 0;
  sBreakDeadTimeConfig.Break2State = TIM_BREAK2_DISABLE;
  sBreakDeadTimeConfig.Break2Polarity = TIM_BREAK2POLARITY_HIGH;
  sBreakDeadTimeConfig.Break2Filter = 0;
  sBreakDeadTimeConfig.AutomaticOutput = TIM_AUTOMATICOUTPUT_DISABLE;
  if (HAL_TIMEx_ConfigBreakDeadTime(&htim8, &sBreakDeadTimeConfig) != HAL_OK)
  {
    Error_Handler();
  }
  HAL_TIM_MspPostInit(&htim8);

}

static void MX_USART2_UART_Init(void)
{

  huart2.Instance = USART2;
  huart2.Init.BaudRate = 115200;
  huart2.Init.WordLength = UART_WORDLENGTH_8B;
  huart2.Init.StopBits = UART_STOPBITS_1;
  huart2.Init.Parity = UART_PARITY_NONE;
  huart2.Init.Mode = UART_MODE_TX_RX;
  huart2.Init.HwFlowCtl = UART_HWCONTROL_NONE;
  huart2.Init.OverSampling = UART_OVERSAMPLING_16;
  huart2.Init.OneBitSampling = UART_ONE_BIT_SAMPLE_DISABLE;
  huart2.AdvancedInit.AdvFeatureInit = UART_ADVFEATURE_NO_INIT;
  if (HAL_UART_Init(&huart2) != HAL_OK)
  {
    Error_Handler();
  }

}

static void MX_USART3_UART_Init(void)
{

  huart3.Instance = USART3;
  huart3.Init.BaudRate = 115200;
  huart3.Init.WordLength = UART_WORDLENGTH_8B;
  huart3.Init.StopBits = UART_STOPBITS_1;
  huart3.Init.Parity = UART_PARITY_NONE;
  huart3.Init.Mode = UART_MODE_TX_RX;
  huart3.Init.HwFlowCtl = UART_HWCONTROL_NONE;
  huart3.Init.OverSampling = UART_OVERSAMPLING_16;
  huart3.Init.OneBitSampling = UART_ONE_BIT_SAMPLE_DISABLE;
  huart3.AdvancedInit.AdvFeatureInit = UART_ADVFEATURE_NO_INIT;
  if (HAL_UART_Init(&huart3) != HAL_OK)
  {
    Error_Handler();
  }

}

static void MX_DMA_Init(void)
{

  /* DMA controller clock enable */
  __HAL_RCC_DMA1_CLK_ENABLE();

  /* DMA interrupt init */
  /* DMA1_Stream5_IRQn interrupt configuration */
  HAL_NVIC_SetPriority(DMA1_Stream5_IRQn, 0, 0);
  HAL_NVIC_EnableIRQ(DMA1_Stream5_IRQn);

}

static void MX_GPIO_Init(void)
{
  GPIO_InitTypeDef GPIO_InitStruct = {0};

  /* GPIO Ports Clock Enable */
  __HAL_RCC_GPIOC_CLK_ENABLE();
  __HAL_RCC_GPIOH_CLK_ENABLE();
  __HAL_RCC_GPIOB_CLK_ENABLE();
  __HAL_RCC_GPIOF_CLK_ENABLE();
  __HAL_RCC_GPIOE_CLK_ENABLE();
  __HAL_RCC_GPIOD_CLK_ENABLE();
  __HAL_RCC_GPIOA_CLK_ENABLE();

  /*Configure GPIO pin Output Level */
  HAL_GPIO_WritePin(GPIOB, LD1_Pin|LD3_Pin|MOTOR_L_DIR_Pin|LD2_Pin, GPIO_PIN_RESET);

  /*Configure GPIO pin Output Level */
  HAL_GPIO_WritePin(MOTOR_R_DIR_GPIO_Port, MOTOR_R_DIR_Pin, GPIO_PIN_RESET);

  /*Configure GPIO pin : USER_Btn_Pin */
  GPIO_InitStruct.Pin = USER_Btn_Pin;
  GPIO_InitStruct.Mode = GPIO_MODE_IT_RISING;
  GPIO_InitStruct.Pull = GPIO_NOPULL;
  HAL_GPIO_Init(USER_Btn_GPIO_Port, &GPIO_InitStruct);

  /*Configure GPIO pins : LD1_Pin LD3_Pin MOTOR_L_DIR_Pin LD2_Pin */
  GPIO_InitStruct.Pin = LD1_Pin|LD3_Pin|MOTOR_L_DIR_Pin|LD2_Pin;
  GPIO_InitStruct.Mode = GPIO_MODE_OUTPUT_PP;
  GPIO_InitStruct.Pull = GPIO_NOPULL;
  GPIO_InitStruct.Speed = GPIO_SPEED_FREQ_LOW;
  HAL_GPIO_Init(GPIOB, &GPIO_InitStruct);

  /*Configure GPIO pin : MOTOR_R_DIR_Pin */
  GPIO_InitStruct.Pin = MOTOR_R_DIR_Pin;
  GPIO_InitStruct.Mode = GPIO_MODE_OUTPUT_PP;
  GPIO_InitStruct.Pull = GPIO_NOPULL;
  GPIO_InitStruct.Speed = GPIO_SPEED_FREQ_LOW;
  HAL_GPIO_Init(MOTOR_R_DIR_GPIO_Port, &GPIO_InitStruct);

}

/* USER CODE BEGIN 4 */
void HAL_UART_RxCpltCallback(UART_HandleTypeDef *huart)
{
	if (huart->Instance == USART3)
	{
		if (command == CMD_ROTATE_LEFT)
			Target_Yaw -= 90.0f;
		else if (command == CMD_ROTATE_RIGHT)
			Target_Yaw += 90.0f;
		else if (command == CMD_ROTATE_180)
			Target_Yaw += 180.0f;

		if (Target_Yaw >= 360.0) Target_Yaw -= 360;
		if (Target_Yaw < 0.0) Target_Yaw += 360;

		HAL_UART_Receive_IT(&huart3, &command, 1);
	}
}

void HAL_TIM_PeriodElapsedCallback(TIM_HandleTypeDef *htim)
{
    if (htim->Instance == TIM6) {
    	control_flag++;
    }
}

void HAL_UARTEx_RxEventCallback(UART_HandleTypeDef *huart, uint16_t Size)
{
	if (huart->Instance == USART2)
	{
		if (Size == ArUcoMarker_RxBuf_SIZE && ArUcoMarker_RxBuf[0] == '<' && ArUcoMarker_RxBuf[18] == '>')
		{
			usart2_flag = 1;
		}
		else
		{
			HAL_UART_DMAStop(&huart2);
			HAL_UARTEx_ReceiveToIdle_DMA(&huart2, ArUcoMarker_RxBuf, ArUcoMarker_RxBuf_SIZE);
			__HAL_DMA_DISABLE_IT(&hdma_usart2_rx, DMA_IT_HT);
		}
	}
}

void HAL_UART_ErrorCallback(UART_HandleTypeDef *huart)
{
    if (huart->Instance == USART2)
    {
    	__HAL_UART_CLEAR_OREFLAG(huart);
    	__HAL_UART_CLEAR_NEFLAG(huart);
    	__HAL_UART_CLEAR_FEFLAG(huart);

		HAL_UART_DMAStop(&huart2);
		HAL_UARTEx_ReceiveToIdle_DMA(&huart2, ArUcoMarker_RxBuf, ArUcoMarker_RxBuf_SIZE);
		__HAL_DMA_DISABLE_IT(&hdma_usart2_rx, DMA_IT_HT);
    }
}
/* USER CODE END 4 */

 /* MPU Configuration */

void MPU_Config(void)
{
  MPU_Region_InitTypeDef MPU_InitStruct = {0};

  /* Disables the MPU */
  HAL_MPU_Disable();

  /** Initializes and configures the Region and the memory to be protected
  */
  MPU_InitStruct.Enable = MPU_REGION_ENABLE;
  MPU_InitStruct.Number = MPU_REGION_NUMBER0;
  MPU_InitStruct.BaseAddress = 0x0;
  MPU_InitStruct.Size = MPU_REGION_SIZE_4GB;
  MPU_InitStruct.SubRegionDisable = 0x87;
  MPU_InitStruct.TypeExtField = MPU_TEX_LEVEL0;
  MPU_InitStruct.AccessPermission = MPU_REGION_NO_ACCESS;
  MPU_InitStruct.DisableExec = MPU_INSTRUCTION_ACCESS_DISABLE;
  MPU_InitStruct.IsShareable = MPU_ACCESS_SHAREABLE;
  MPU_InitStruct.IsCacheable = MPU_ACCESS_NOT_CACHEABLE;
  MPU_InitStruct.IsBufferable = MPU_ACCESS_NOT_BUFFERABLE;

  HAL_MPU_ConfigRegion(&MPU_InitStruct);
  /* Enables the MPU */
  HAL_MPU_Enable(MPU_PRIVILEGED_DEFAULT);

}

void Error_Handler(void)
{
  __disable_irq();
  while (1)
  {
  }
}
